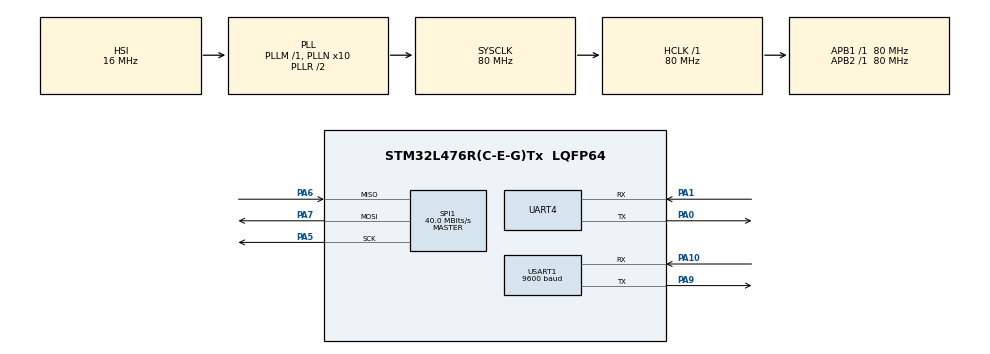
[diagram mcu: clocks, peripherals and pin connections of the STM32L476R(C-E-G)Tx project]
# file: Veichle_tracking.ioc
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Mcu.Family=STM32L4
Mcu.Name=STM32L476R(C-E-G)Tx
Mcu.Package=LQFP64
NVIC.PriorityGroup=NVIC_PRIORITYGROUP_4
NVIC.UART4_IRQn=true\:0\:0\:false\:false\:true\:true\:true\:true
NVIC.USART1_IRQn=true\:0\:0\:false\:false\:true\:true\:true\:true
PA0.Mode=Asynchronous
PA0.Signal=UART4_TX
PA1.Mode=Asynchronous
PA1.Signal=UART4_RX
PA10.Mode=Asynchronous
PA10.Signal=USART1_RX
PA5.Mode=Full_Duplex_Master
PA5.Signal=SPI1_SCK
PA6.Mode=Full_Duplex_Master
PA6.Signal=SPI1_MISO
PA7.Mode=Full_Duplex_Master
PA7.Signal=SPI1_MOSI
PA9.Mode=Asynchronous
PA9.Signal=USART1_TX
ProjectManager.HeapSize=0x200
ProjectManager.StackSize=0x400
ProjectManager.TargetToolchain=STM32CubeIDE
RCC.ADCFreq_Value=64000000
RCC.AHBFreq_Value=80000000
RCC.APB1Freq_Value=80000000
RCC.APB1TimFreq_Value=80000000
RCC.APB2Freq_Value=80000000
RCC.APB2TimFreq_Value=80000000
RCC.CortexFreq_Value=80000000
RCC.HCLKFreq_Value=80000000
RCC.HSE_VALUE=8000000
RCC.HSI_VALUE=16000000
RCC.MSI_VALUE=4000000
RCC.PLLN=10
RCC.PLLSourceVirtual=RCC_PLLSOURCE_HSI
RCC.PREFETCH_ENABLE=1
RCC.SYSCLKFreq_VALUE=80000000
RCC.SYSCLKSource=RCC_SYSCLKSOURCE_PLLCLK
RCC.USBFreq_Value=64000000
RCC.VCOOutputFreq_Value=160000000
SPI1.CalculateBaudRate=40.0 MBits/s
SPI1.Direction=SPI_DIRECTION_2LINES
SPI1.Mode=SPI_MODE_MASTER
SPI1.VirtualType=VM_MASTER
USART1.BaudRate=9600
USART1.VirtualMode-Asynchronous=VM_ASYNC
board=NUCLEO-L476RG

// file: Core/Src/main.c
/* USER CODE BEGIN Header */
/**
  ******************************************************************************
  * @file           : main.c
  * @brief          : Main program body
  ******************************************************************************
  * @attention
  *
  * Copyright (c) 2024 STMicroelectronics.
  * All rights reserved.
  *
  * This software is licensed under terms that can be found in the LICENSE file
  * in the root directory of this software component.
  * If no LICENSE file comes with this software, it is provided AS-IS.
  *
  ******************************************************************************
  */
/* USER CODE END Header */
#include "main.h"
#include <stdlib.h>
/* USER CODE BEGIN Includes */
#include "gps.h"
#include "gsm.h"
#include "internal_flash.h"
#include "stdio.h"
#include "string.h"
#define JSON_SIZE 256
#define NMEA_SIZE 750
#define FLASH_START_ADDRESS 0x08080000

int _write(int file,char *ptr,int len)

{

    int i=0;

    for(i=0;i<len;i++)

      ITM_SendChar((*ptr++));

    return len;

}

/* Private includes ----------------------------------------------------------*/
/* USER CODE BEGIN Includes */

/* USER CODE END Includes */

SPI_HandleTypeDef hspi1;

UART_HandleTypeDef huart4;
UART_HandleTypeDef huart1;

void SystemClock_Config(void);
static void MX_GPIO_Init(void);
static void MX_SPI1_Init(void);
static void MX_UART4_Init(void);
static void MX_USART1_UART_Init(void);

/* USER CODE BEGIN 0 */
extern char json_str[JSON_SIZE];
extern char buf_to_extract[NMEA_SIZE];
extern char RxBuffer[NMEA_SIZE];
extern char readData[100];

int ret=1;
/* USER CODE END 0 */

int main(void)
{

  /* MCU Configuration--------------------------------------------------------*/

  /* Reset of all peripherals, Initializes the Flash interface and the Systick. */
  HAL_Init();

  /* Configure the system clock */
  SystemClock_Config();

  /* Initialize all configured peripherals */
  MX_GPIO_Init();
  MX_SPI1_Init();
  MX_UART4_Init();
  MX_USART1_UART_Init();

  /* Infinite loop */
  while (1)
  {

    /* USER CODE BEGIN 3 */
	  if(DATA_SEND_READY()!=0)
	   {
		  	  if(*readData)
		  	  {

		  		  ret=GSM_Send_Data(readData);
		  		if(ret==0)
		  		{
		  		printf("Data restored and sent to server \n");
		  		memset(readData,0,sizeof(readData));
		  		}
		  	  }

	  	  	 		while(1)
	  	  	 		{
	  	  	 			if(HAL_UART_Receive_IT(&huart1, (char *)RxBuffer, 750)==HAL_OK)
	  	  	 			{
	  	  	 			printf("Received NMEA %s\n",RxBuffer);
	  	  	 			strcpy(buf_to_extract,RxBuffer);
	  	  	 			memset(RxBuffer,0,750);
	  	  	 			get_data_from_gps(buf_to_extract);
	  	  	 			//memset(buf_to_extract,0,750);

	  	  	 		 if(*json_str)
	  	  	 		 {
	  	  	 			 printf("GPS Recieved %s \n",json_str);
	  	  	 			if(GSM_Send_Data((uint8_t *)json_str)==0)
	  	  	 			{
	  	  	 			printf("Sending worked \n");

	  	  	 			}
	  	  	 			else
	  	  	 			{
	  		  	 			printf("Sending  not worked \n");

	  	  	 			}
	  	  	 		 }
	  	  	 		 else
	  	  	 		 {
	  	  	 			 printf("GPS Received No DATA\n");
	  	  	 			 //
	  	  	 		 }
	  	  	 		 memset(json_str,0,256);
	  	  	 		 memset(json_str,0,256);

	  	  	 		}
	  	  	 		}
	  	  	 }
	  	  	 else
	  	  	 {
	  	  		 printf("GSM Init Failed in Main\n Storing in Flash \n");

	  	  		while(1)
	  	  		{
	  	  			if(HAL_UART_Receive_IT(&huart1, (char *)RxBuffer, 750)==HAL_OK)
	  	  			{

	  	  				printf("Received NMEA %s\n",RxBuffer);
	  	  			  	strcpy(buf_to_extract,RxBuffer);
	  	  			  	memset(RxBuffer,0,750);
	  	  			  	get_data_from_gps(buf_to_extract);
	  	  			  	 //memset(buf_to_extract,0,750);

	  	  			  	  if(*json_str)
	  	  			  	  {
	  	  			  	  	 printf("GPS Recieved %s \n",json_str);
	  	  			  	  	 printf(" json string length %d",strlen(json_str));
	  	  			  	  	 eraseFlashPage(FLASH_START_ADDRESS);

	  	  			  	  	 printf("Erased the whole flash\n");

	  	  			  	  	 writeStringToFlash(FLASH_START_ADDRESS,json_str);
	  	  			  	  	 HAL_Delay(1000);
	  	  			  	  	 printf("Writing into flash done\n");
	  	  			  	  	 readDataFromFlash(FLASH_START_ADDRESS,readData,strlen(json_str)+1);
	  	  			  	  	 printf("Reading Done ");
	  	  			  	  	 if(strcmp(readData,json_str)==0)
	  	  			  	  	 {
	  	  			  	  	   printf("Storing worked \n");
	  	  			  	  	   break;

	  	  			  	  	 }
	  	  			  	  	 else
	  	  			  	  	 {
	  	  			  		  	printf("Storing  not worked \n");

	  	  			  	  	 }
	  	  			  	  }
	  	  			  	  else
	  	  			  	  {
	  	  			  	  	  printf("GPS Received No DATA\n");

	  	  			  	  }
	  	  			  	  	memset(json_str,0,256);
	  	  			  	  // memset(json_str,0,256);
	  	  			}
	  	  		}

	  	  	 }
	  }

  }

  /* USER CODE END 3 */

void SystemClock_Config(void)
{
  RCC_OscInitTypeDef RCC_OscInitStruct = {0};
  RCC_ClkInitTypeDef RCC_ClkInitStruct = {0};

  /** Configure the main internal regulator output voltage
  */
  if (HAL_PWREx_ControlVoltageScaling(PWR_REGULATOR_VOLTAGE_SCALE1) != HAL_OK)
  {
    Error_Handler();
  }

  /** Initializes the RCC Oscillators according to the specified parameters
  * in the RCC_OscInitTypeDef structure.
  */
  RCC_OscInitStruct.OscillatorType = RCC_OSCILLATORTYPE_HSI;
  RCC_OscInitStruct.HSIState = RCC_HSI_ON;
  RCC_OscInitStruct.HSICalibrationValue = RCC_HSICALIBRATION_DEFAULT;
  RCC_OscInitStruct.PLL.PLLState = RCC_PLL_ON;
  RCC_OscInitStruct.PLL.PLLSource = RCC_PLLSOURCE_HSI;
  RCC_OscInitStruct.PLL.PLLM = 1;
  RCC_OscInitStruct.PLL.PLLN = 10;
  RCC_OscInitStruct.PLL.PLLP = RCC_PLLP_DIV7;
  RCC_OscInitStruct.PLL.PLLQ = RCC_PLLQ_DIV2;
  RCC_OscInitStruct.PLL.PLLR = RCC_PLLR_DIV2;
  if (HAL_RCC_OscConfig(&RCC_OscInitStruct) != HAL_OK)
  {
    Error_Handler();
  }

  /** Initializes the CPU, AHB and APB buses clocks
  */
  RCC_ClkInitStruct.ClockType = RCC_CLOCKTYPE_HCLK|RCC_CLOCKTYPE_SYSCLK
                              |RCC_CLOCKTYPE_PCLK1|RCC_CLOCKTYPE_PCLK2;
  RCC_ClkInitStruct.SYSCLKSource = RCC_SYSCLKSOURCE_PLLCLK;
  RCC_ClkInitStruct.AHBCLKDivider = RCC_SYSCLK_DIV1;
  RCC_ClkInitStruct.APB1CLKDivider = RCC_HCLK_DIV1;
  RCC_ClkInitStruct.APB2CLKDivider = RCC_HCLK_DIV1;

  if (HAL_RCC_ClockConfig(&RCC_ClkInitStruct, FLASH_LATENCY_4) != HAL_OK)
  {
    Error_Handler();
  }
}

static void MX_SPI1_Init(void)
{

  /* SPI1 parameter configuration*/
  hspi1.Instance = SPI1;
  hspi1.Init.Mode = SPI_MODE_MASTER;
  hspi1.Init.Direction = SPI_DIRECTION_2LINES;
  hspi1.Init.DataSize = SPI_DATASIZE_4BIT;
  hspi1.Init.CLKPolarity = SPI_POLARITY_LOW;
  hspi1.Init.CLKPhase = SPI_PHASE_1EDGE;
  hspi1.Init.NSS = SPI_NSS_SOFT;
  hspi1.Init.BaudRatePrescaler = SPI_BAUDRATEPRESCALER_2;
  hspi1.Init.FirstBit = SPI_FIRSTBIT_MSB;
  hspi1.Init.TIMode = SPI_TIMODE_DISABLE;
  hspi1.Init.CRCCalculation = SPI_CRCCALCULATION_DISABLE;
  hspi1.Init.CRCPolynomial = 7;
  hspi1.Init.CRCLength = SPI_CRC_LENGTH_DATASIZE;
  hspi1.Init.NSSPMode = SPI_NSS_PULSE_ENABLE;
  if (HAL_SPI_Init(&hspi1) != HAL_OK)
  {
    Error_Handler();
  }

}

static void MX_UART4_Init(void)
{

  huart4.Instance = UART4;
  huart4.Init.BaudRate = 115200;
  huart4.Init.WordLength = UART_WORDLENGTH_8B;
  huart4.Init.StopBits = UART_STOPBITS_1;
  huart4.Init.Parity = UART_PARITY_NONE;
  huart4.Init.Mode = UART_MODE_TX_RX;
  huart4.Init.HwFlowCtl = UART_HWCONTROL_NONE;
  huart4.Init.OverSampling = UART_OVERSAMPLING_16;
  huart4.Init.OneBitSampling = UART_ONE_BIT_SAMPLE_DISABLE;
  huart4.AdvancedInit.AdvFeatureInit = UART_ADVFEATURE_NO_INIT;
  if (HAL_UART_Init(&huart4) != HAL_OK)
  {
    Error_Handler();
  }

}

static void MX_USART1_UART_Init(void)
{

  huart1.Instance = USART1;
  huart1.Init.BaudRate = 9600;
  huart1.Init.WordLength = UART_WORDLENGTH_8B;
  huart1.Init.StopBits = UART_STOPBITS_1;
  huart1.Init.Parity = UART_PARITY_NONE;
  huart1.Init.Mode = UART_MODE_TX_RX;
  huart1.Init.HwFlowCtl = UART_HWCONTROL_NONE;
  huart1.Init.OverSampling = UART_OVERSAMPLING_16;
  huart1.Init.OneBitSampling = UART_ONE_BIT_SAMPLE_DISABLE;
  huart1.AdvancedInit.AdvFeatureInit = UART_ADVFEATURE_NO_INIT;
  if (HAL_UART_Init(&huart1) != HAL_OK)
  {
    Error_Handler();
  }

}

static void MX_GPIO_Init(void)
{

  /* GPIO Ports Clock Enable */
  __HAL_RCC_GPIOA_CLK_ENABLE();

}

void Error_Handler(void)
{
  __disable_irq();
  while (1)
  {
  }
}
